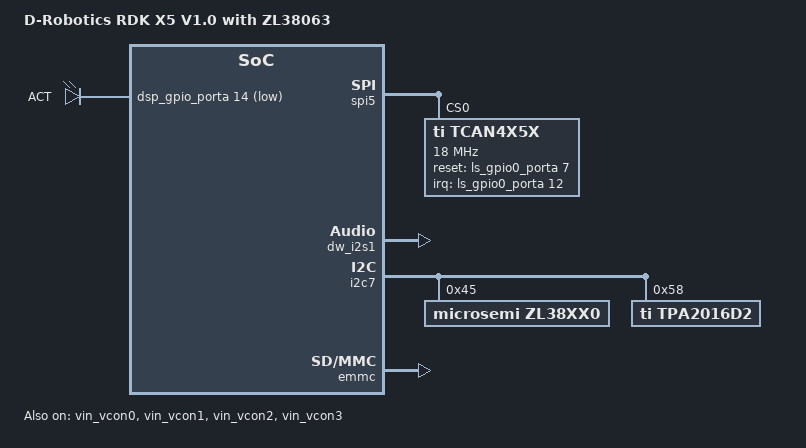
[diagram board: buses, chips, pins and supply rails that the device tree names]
// SPDX-License-Identifier: GPL-2.0
/*
 * dts for RDK X5 with ZL38063 audio codec and TPA2016D2 amplifier
 *
 * Copyright (C) 2024 D-Robotics, Inc.
 */

/dts-v1/;
#include "x5-rdk.dtsi"

/ {
	model = "D-Robotics RDK X5 V1.0 with ZL38063";

	leds {
		status = "okay";
		compatible = "gpio-leds";

		act_led: led-act {
			label = "ACT";
			gpios = <&dsp_gpio_porta 14 GPIO_ACTIVE_LOW>;
			linux,default-trigger = "heartbeat";
		};
	};

	zl38063_sound: zl38063-sound {
		compatible = "simple-audio-card";
		simple-audio-card,name = "zl38063-audio";
		simple-audio-card,mclk-fs = <256>;

		simple-audio-card,dai-link@0 {
			format = "i2s";
			cpu {
				sound-dai = <&dw_i2s1 0>;
			};
			codec {
				sound-dai = <&zl38xx0 0>;
			};
		};
	};
};

&lsio_iomuxc {
	lsio_gpio0_13: lsio_gpio0_13 {
		horizon,pins = <
			LSIO_UART4_TX	LSIO_PINMUX_3 BIT_OFFSET26	MUX_ALT2	&pconf_output_high
		>;
	};
};

//wifi antenna Onboard
&dsp_gpio_porta {
	pinctrl-names = "default";
	pinctrl-0 = < &dsp_gpio0_15
				&dsp_gpio0_16
				&dsp_gpio0_17
				&dsp_gpio0_18
			>;
};

&ls_gpio0_porta {
	pinctrl-names = "default";
	pinctrl-0 = <&lsio_gpio0_13>;//USB HUB RESET high
};

&spi5 {
	status = "okay";
	pinctrl-names = "default";
	pinctrl-0 = <&pinctrl_spi5 &lsio_gpio0_7 &lsio_gpio0_12>;
	dma-names = "tx", "rx";
	dmas = <&axi_dmac 31>, <&axi_dmac 30>;

	tcan4x5x: tcan4x5x@0 {
		compatible = "ti,tcan4x5x";
		reg = <0>;
		#address-cells = <1>;
		#size-cells = <1>;
		spi-max-frequency = <18000000>;
		bosch,mram-cfg = <0x0 0 0 10 0 0 10 10>;
		interrupt-parent = <&ls_gpio0_porta>;
		interrupts = <12 IRQ_TYPE_EDGE_FALLING>;
		reset-gpios = <&ls_gpio0_porta 7 GPIO_ACTIVE_HIGH>;
	};
};

&vin_vcon0 {
	status = "okay";
	/* camera sensor
	 * reset gpio:	LSIO_GPIO1_PIN6:	353
	 * lpwm      :  LSIO_SPI3_SCLK  :   pinctrl_lpwm1_0
	 */
	pinctrl-names = "default";
	pinctrl-0 = <&lsio_gpio1_6>;
	gpio_oth = <353>;   // reset gpio
	bus = <6>; // i2c bus
	lpwm_chn = <4>;
};

&vin_vcon1 {
	status = "okay";
	// use same sensor gpio with vcon0 and i2c bus
	bus = <6>;
};

&vin_vcon2 {
	status = "okay";
	/* camera sensor
	 * reset gpio:	LSIO_GPIO1_PIN4:	351
	 * lpwm      :  LSIO_SPI3_SSN  :    pinctrl_lpwm1_1
	 */
	pinctrl-names = "default";
	pinctrl-0 = <&lsio_gpio1_4>;
	gpio_oth = <351>;   // reset gpio
	bus = <4>;  // i2c bus
	lpwm_chn = <5>;
};

&vin_vcon3 {
	status = "okay";
	// use same sensor gpio with vcon2 and i2c bus
	bus = <4>;
};

/* Disable original audio path */
&sound_machine {
	status = "disabled";
};

&es8326 {
	status = "disabled";
};

&dw_i2s0 {
	status = "disabled";
};

&duplex_card {
	status = "disabled";
};

&snd0 {
	status = "disabled";
};

/* Enable ZL38063 audio path */
&dw_i2s1 {
	status = "okay";
	#sound-dai-cells = <1>;
	dwc-master = <1>;
};

&i2c7 {
	zl38xx0: zl38xx0@45 {
		compatible = "microsemi,zl38xx0";
		reg = <0x45>;
		#sound-dai-cells = <1>;
		status = "okay";
	};

	tpa2016d2: tpa2016d2@58 {
		compatible = "ti,tpa2016d2";
		#sound-dai-cells = <0>;
		reg = <0x58>;
		status = "okay";
	};
};

&emmc {
	status = "okay";
	fixed-emmc-driver-type = <2>;
};
